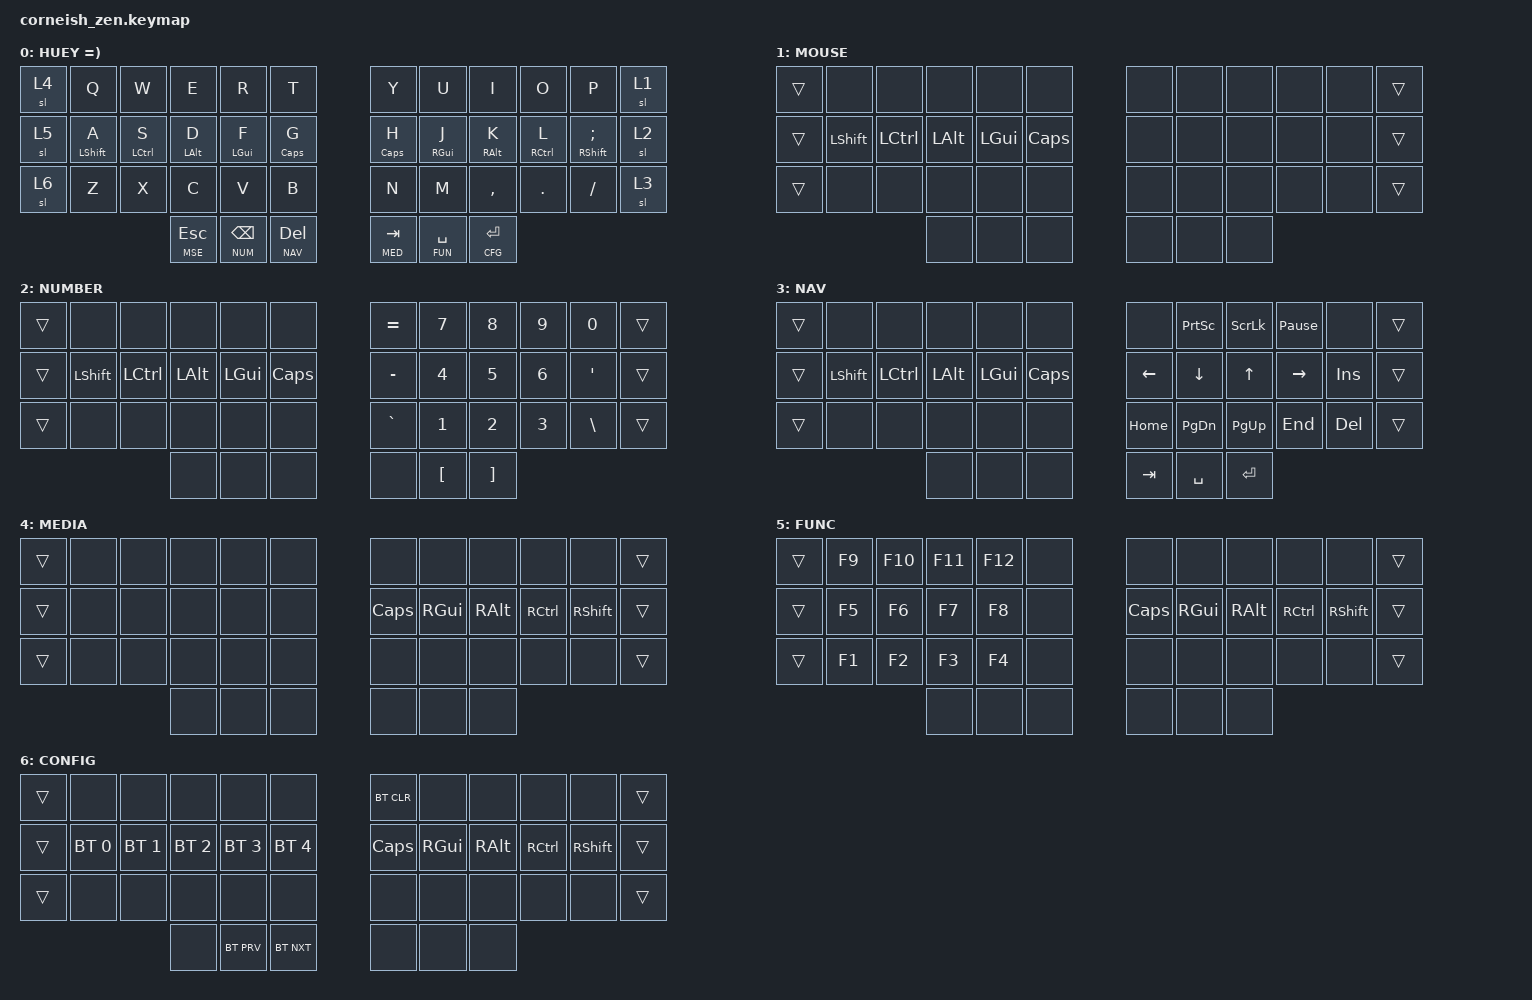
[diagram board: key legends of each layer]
#include <behaviors.dtsi>
#include <dt-bindings/zmk/keys.h>
#include <dt-bindings/zmk/bt.h>

#define DEF 0
#define MSE 1
#define NUM 2
#define NAV 3
#define MED 4
#define FUN 5
#define CFG 6

/ {
  chosen {
    zmk,matrix_transform = &default_transform;
    //zmk,matrix_transform = &five_column_transform;
  };
};

/ {

  behaviors {
    hm: homerow_mods {
      compatible = "zmk,behavior-hold-tap";
      label = "HOMEROW_MODS";
      #binding-cells = <2>;
      tapping-term-ms = <200>;
        quick_tap_ms = <175>;
      flavor = "tap-preferred";
      bindings = <&kp>, <&kp>;
    };
  };

  keymap {
    compatible = "zmk,keymap";

    default_layer {
    label = "HUEY =)";
      bindings = <
        &sl 4            &kp Q           &kp W           &kp E           &kp R           &kp T               &kp Y           &kp U           &kp I           &kp O           &kp P           &sl 1
        &sl 5            &hm LSHFT A     &hm LCTRL S     &hm LALT D      &hm LGUI F      &hm CAPS G          &hm CAPS H      &hm RGUI J      &hm RALT K      &hm RCTRL L     &hm RSHFT SEMI  &sl 2
        &sl 6            &kp Z           &kp X           &kp C           &kp V           &kp B               &kp N           &kp M           &kp COMMA       &kp DOT         &kp FSLH        &sl 3
                                                         &lt MSE ESC     &lt NUM BSPC    &lt NAV DEL         &lt MED TAB     &lt FUN SPACE   &lt CFG RET
      >;
    };

    mouse_layer {
      label = "MOUSE";
      bindings = <
        &trans           &none           &none           &none           &none           &none               &none           &none           &none           &none           &none           &trans
        &trans           &kp LSHFT       &kp LCTRL       &kp LALT        &kp LGUI        &kp CAPS            &none           &none           &none           &none           &none           &trans
        &trans           &none           &none           &none           &none           &none               &none           &none           &none           &none           &none           &trans
                                                         &none           &none           &none               &none           &none           &none
      >;
    };

    number_layer {
      label = "NUMBER";
      bindings = <
        &trans           &none           &none           &none           &none           &none               &kp EQUAL       &kp N7          &kp N8          &kp N9          &kp N0          &trans
        &trans           &kp LSHFT       &kp LCTRL       &kp LALT        &kp LGUI        &kp CAPS            &kp MINUS       &kp N4          &kp N5          &kp N6          &kp APOS        &trans
        &trans           &none           &none           &none           &none           &none               &kp GRAVE       &kp N1          &kp N2          &kp N3          &kp BSLH        &trans
                                                         &none           &none           &none               &none           &kp LBKT        &kp RBKT
      >;
    };

    navigation_layer {
      label = "NAV";
      bindings = <
        &trans           &none           &none           &none           &none           &none               &none           &kp PSCRN       &kp SLCK        &kp PAUSE_BREAK &none           &trans
        &trans           &kp LSHFT       &kp LCTRL       &kp LALT        &kp LGUI        &kp CAPS            &kp LEFT        &kp DOWN        &kp UP          &kp RIGHT       &kp INS         &trans
        &trans           &none           &none           &none           &none           &none               &kp HOME        &kp PG_DN       &kp PG_UP       &kp END         &kp DEL         &trans
                                                         &none           &none           &none               &kp TAB         &kp SPACE       &kp RET
      >;
    };

    media_layer {
      label = "MEDIA";
      bindings = <
        &trans           &none           &none           &none           &none           &none               &none           &none           &none           &none           &none           &trans
        &trans           &none           &none           &none           &none           &none               &kp CAPS        &kp RGUI        &kp RALT        &kp RCTRL       &kp RSHFT       &trans
        &trans           &none           &none           &none           &none           &none               &none           &none           &none           &none           &none           &trans
                                                         &none           &none           &none               &none           &none           &none
      >;
    };

    function_layer {
      label = "FUNC";
      bindings = <
        &trans           &kp F9          &kp F10         &kp F11         &kp F12         &none               &none           &none           &none           &none           &none           &trans
        &trans           &kp F5          &kp F6          &kp F7          &kp F8          &none               &kp CAPS           &kp RGUI        &kp RALT        &kp RCTRL       &kp RSHFT       &trans
        &trans           &kp F1          &kp F2          &kp F3          &kp F4          &none               &none           &none           &none           &none           &none           &trans
                                                         &none           &none           &none               &none           &none           &none
      >;
    };

    configuration_layer {
      label = "CONFIG";
      bindings = <
        &trans           &none           &none           &none           &none           &none               &bt BT_CLR      &none           &none           &none           &none           &trans
        &trans           &bt BT_SEL 0    &bt BT_SEL 1    &bt BT_SEL 2    &bt BT_SEL 3    &bt BT_SEL 4        &kp CAPS           &kp RGUI        &kp RALT        &kp RCTRL       &kp RSHFT       &trans
        &trans           &none           &none           &none           &none           &none               &none           &none           &none           &none           &none           &trans
                                                         &none           &bt BT_PRV      &bt BT_NXT          &none           &none           &none
      >;
    };

  };
};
